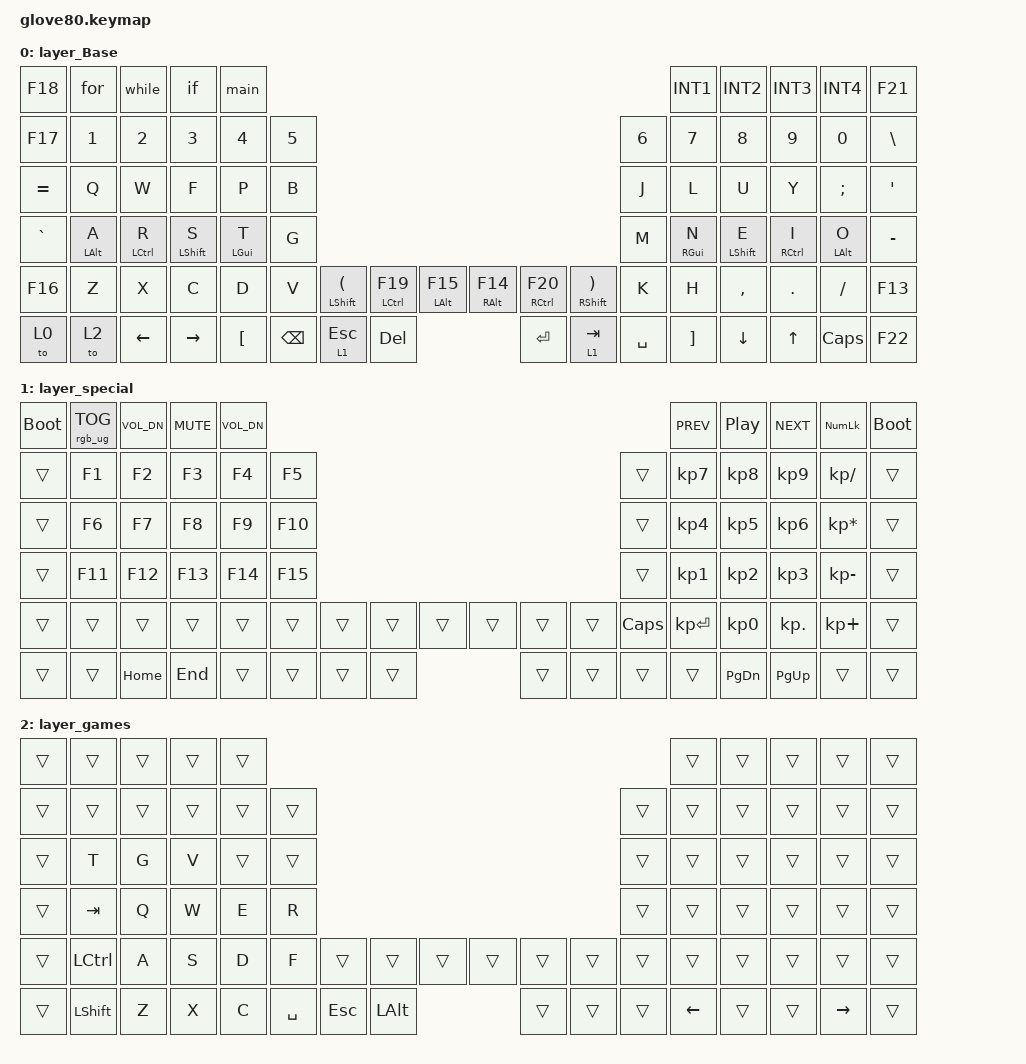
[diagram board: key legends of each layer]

/*
 * Copyright (c) 2020 The ZMK Contributors
 * Copyright (c) 2023 Innaworks Development Limited, trading as MoErgo
 *
 * SPDX-License-Identifier: MIT
 */


/* THIS FILE WAS GENERATED BY GLOVE80 LAYOUT EDITOR
 *
 * This file was generated automatically. You may or may not want to
 * edit it directly.
 */

#include <behaviors.dtsi>
/* Include all behavior includes needed */
#include <dt-bindings/zmk/outputs.h>
#include <dt-bindings/zmk/keys.h>
#include <dt-bindings/zmk/bt.h>
#include <dt-bindings/zmk/rgb.h>

/* Automatically generated layer name #define */
#define LAYER_Base 0
#define LAYER_special 1
#define LAYER_games 2

/* To deal with the situation where there is no Lower layer, to keep &lower happy */
#ifndef LAYER_Lower
#define LAYER_Lower 0
#endif

/* Custom Device-tree */



/* Glove80 system behavior & macros */
/ {
    behaviors {
        // For the "layer" key, it'd nice to be able to use it as either a shift or a toggle.
        // Configure it as a tap dance, so the first tap (or hold) is a &mo and the second tap is a &to
        lower: lower {
            compatible = "zmk,behavior-tap-dance";
            label = "LAYER_TAP_DANCE";
            #binding-cells = <0>;
            tapping-term-ms = <200>;
            bindings = <&mo LAYER_Lower>, <&to LAYER_Lower>;
        };
    };
};

/ {
#ifdef BT_DISC_CMD
    behaviors {
        bt_0: bt_0 {
            compatible = "zmk,behavior-tap-dance";
            label = "BT_0";
            #binding-cells = <0>;
            tapping-term-ms = <200>;
            bindings = <&bt_select_0>, <&bt BT_DISC 0>;
        };
        bt_1: bt_1 {
            compatible = "zmk,behavior-tap-dance";
            label = "BT_1";
            #binding-cells = <0>;
            tapping-term-ms = <200>;
            bindings = <&bt_select_1>, <&bt BT_DISC 1>;
        };
        bt_2: bt_2 {
            compatible = "zmk,behavior-tap-dance";
            label = "BT_2";
            #binding-cells = <0>;
            tapping-term-ms = <200>;
            bindings = <&bt_select_2>, <&bt BT_DISC 2>;
        };
        bt_3: bt_3 {
            compatible = "zmk,behavior-tap-dance";
            label = "BT_3";
            #binding-cells = <0>;
            tapping-term-ms = <200>;
            bindings = <&bt_select_3>, <&bt BT_DISC 3>;
        };
    };
    macros {
        bt_select_0: bt_select_0 {
            label = "BT_SELECT_0";
            compatible = "zmk,behavior-macro";
            #binding-cells = <0>;
            bindings = <&out OUT_BLE>, <&bt BT_SEL 0>;
        };
        bt_select_1: bt_select_1 {
            label = "BT_SELECT_1";
            compatible = "zmk,behavior-macro";
            #binding-cells = <0>;
            bindings = <&out OUT_BLE>, <&bt BT_SEL 1>;
        };
        bt_select_2: bt_select_2 {
            label = "BT_SELECT_2";
            compatible = "zmk,behavior-macro";
            #binding-cells = <0>;
            bindings = <&out OUT_BLE>, <&bt BT_SEL 2>;
        };
        bt_select_3: bt_select_3 {
            label = "BT_SELECT_3";
            compatible = "zmk,behavior-macro";
            #binding-cells = <0>;
            bindings = <&out OUT_BLE>, <&bt BT_SEL 3>;
        };
    };
#else
    macros {
        bt_0: bt_0 {
            label = "BT_0";
            compatible = "zmk,behavior-macro";
            #binding-cells = <0>;
            bindings = <&out OUT_BLE>, <&bt BT_SEL 0>;
        };
        bt_1: bt_1 {
            label = "BT_1";
            compatible = "zmk,behavior-macro";
            #binding-cells = <0>;
            bindings = <&out OUT_BLE>, <&bt BT_SEL 1>;
        };
        bt_2: bt_2 {
            label = "BT_2";
            compatible = "zmk,behavior-macro";
            #binding-cells = <0>;
            bindings = <&out OUT_BLE>, <&bt BT_SEL 2>;
        };
        bt_3: bt_3 {
            label = "BT_3";
            compatible = "zmk,behavior-macro";
            #binding-cells = <0>;
            bindings = <&out OUT_BLE>, <&bt BT_SEL 3>;
        };
    };
#endif
};

/ {
    behaviors {
        magic: magic {
            compatible = "zmk,behavior-hold-tap";
            label = "MAGIC_HOLD_TAP";
            #binding-cells = <2>;
            flavor = "tap-preferred";
            tapping-term-ms = <200>;
            bindings = <&mo>, <&rgb_ug_status_macro>;
        };
    };
};

/* #define for key positions */
#define POS_LH_T1 52
#define POS_LH_T2 53
#define POS_LH_T3 54
#define POS_LH_T4 69
#define POS_LH_T5 70
#define POS_LH_T6 71
#define POS_LH_C1R2 15
#define POS_LH_C1R3 27
#define POS_LH_C1R4 39
#define POS_LH_C1R5 51
#define POS_LH_C2R1 4
#define POS_LH_C2R2 14
#define POS_LH_C2R3 26
#define POS_LH_C2R4 38
#define POS_LH_C2R5 50
#define POS_LH_C2R6 68
#define POS_LH_C3R1 3
#define POS_LH_C3R2 13
#define POS_LH_C3R3 25
#define POS_LH_C3R4 37
#define POS_LH_C3R5 49
#define POS_LH_C3R6 67
#define POS_LH_C4R1 2
#define POS_LH_C4R2 12
#define POS_LH_C4R3 24
#define POS_LH_C4R4 36
#define POS_LH_C4R5 48
#define POS_LH_C4R6 66
#define POS_LH_C5R1 1
#define POS_LH_C5R2 11
#define POS_LH_C5R3 23
#define POS_LH_C5R4 35
#define POS_LH_C5R5 47
#define POS_LH_C5R6 65
#define POS_LH_C6R1 0
#define POS_LH_C6R2 10
#define POS_LH_C6R3 22
#define POS_LH_C6R4 34
#define POS_LH_C6R5 46
#define POS_LH_C6R6 64
#define POS_RH_T1 57
#define POS_RH_T2 56
#define POS_RH_T3 55
#define POS_RH_T4 74
#define POS_RH_T5 73
#define POS_RH_T6 72
#define POS_RH_C1R2 16
#define POS_RH_C1R3 28
#define POS_RH_C1R4 40
#define POS_RH_C1R5 58
#define POS_RH_C2R1 5
#define POS_RH_C2R2 17
#define POS_RH_C2R3 29
#define POS_RH_C2R4 41
#define POS_RH_C2R5 59
#define POS_RH_C2R6 75
#define POS_RH_C3R1 6
#define POS_RH_C3R2 18
#define POS_RH_C3R3 30
#define POS_RH_C3R4 42
#define POS_RH_C3R5 60
#define POS_RH_C3R6 76
#define POS_RH_C4R1 7
#define POS_RH_C4R2 19
#define POS_RH_C4R3 31
#define POS_RH_C4R4 43
#define POS_RH_C4R5 61
#define POS_RH_C4R6 77
#define POS_RH_C5R1 8
#define POS_RH_C5R2 20
#define POS_RH_C5R3 32
#define POS_RH_C5R4 44
#define POS_RH_C5R5 62
#define POS_RH_C5R6 78
#define POS_RH_C6R1 9
#define POS_RH_C6R2 21
#define POS_RH_C6R3 33
#define POS_RH_C6R4 45
#define POS_RH_C6R5 63
#define POS_RH_C6R6 79

/* Custom Defined Behaviors */
/ {

};

/* Automatically generated macro definitions */
/ {
    macros {
    
        for: for {
            label = "&FOR";
            compatible = "zmk,behavior-macro";
            #binding-cells = <0>;
            tap-ms = <15>;
            bindings = <&kp F>, <&kp O>, <&kp R>, <&kp LPAR>, <&kp SEMI>, <&kp SEMI>, <&kp RPAR>, <&kp SPACE>, <&kp LBRC>, <&kp RET>;
        };
    
        if: if {
            label = "&IF";
            compatible = "zmk,behavior-macro";
            #binding-cells = <0>;
            tap-ms = <15>;
            bindings = <&kp I>, <&kp F>, <&kp LPAR>, <&kp EQUAL>, <&kp EQUAL>, <&kp RPAR>, <&kp SPACE>, <&kp LBRC>, <&kp RET>;
        };
    
        while: while {
            label = "&WHILE";
            compatible = "zmk,behavior-macro";
            #binding-cells = <0>;
            tap-ms = <15>;
            bindings = <&kp W>, <&kp H>, <&kp I>, <&kp L>, <&kp E>, <&kp LPAR>, <&kp RPAR>, <&kp SPACE>, <&kp LBRC>, <&kp RET>;
        };
    
        main: main {
            label = "&MAIN";
            compatible = "zmk,behavior-macro";
            #binding-cells = <0>;
            bindings = <&kp I>, <&kp N>, <&kp T>, <&kp SPACE>, <&kp M>, <&kp A>, <&kp I>, <&kp N>, <&kp LPAR>, <&kp RPAR>, <&kp SPACE>, <&kp LBRC>;
        };
    };
};

/* Automatically generated behavior definitions */
/ {
    behaviors {

        homerow_mod: homerow_mod {
            compatible = "zmk,behavior-hold-tap";
            #binding-cells = <2>;
            tapping-term-ms = <200>;
            bindings = <&kp>, <&kp>;
            flavor = "tap-preferred";
            quick-tap-ms = <200>;
            require-prior-idle-ms = <125>;
        };

        homerow_mod_long: homerow_mod_long {
            compatible = "zmk,behavior-hold-tap";
            #binding-cells = <2>;
            tapping-term-ms = <250>;
            bindings = <&kp>, <&kp>;
            flavor = "tap-preferred";
            quick-tap-ms = <250>;
            require-prior-idle-ms = <150>;
        };

        homerow_mod_short: homerow_mod_short {
            compatible = "zmk,behavior-hold-tap";
            #binding-cells = <2>;
            tapping-term-ms = <175>;
            bindings = <&kp>, <&kp>;
            flavor = "tap-preferred";
            quick-tap-ms = <175>;
            require-prior-idle-ms = <125>;
        };

        perfer_mod: perfer_mod {
            compatible = "zmk,behavior-hold-tap";
            #binding-cells = <2>;
            tapping-term-ms = <250>;
            bindings = <&kp>, <&kp>;
            quick-tap-ms = <250>;
            require-prior-idle-ms = <150>;
        };
    };
};

/* Automatically generated combos definitions */


/* Automatically generated keymap */
/ {
    keymap {
        compatible = "zmk,keymap";


        layer_Base {
            bindings = <
   &kp F18                      &for                &while                        &if                &main                                                                                                                                                                         &kp INT1                    &kp INT2              &kp INT3                  &kp INT4    &kp F21
   &kp F17                    &kp N1                &kp N2                     &kp N3               &kp N4  &kp N5                                                                                                                                              &kp N6               &kp N7                      &kp N8                &kp N9                    &kp N0   &kp BSLH
 &kp EQUAL                     &kp Q                 &kp W                      &kp F                &kp P   &kp B                                                                                                                                               &kp J                &kp L                       &kp U                 &kp Y                  &kp SEMI    &kp SQT
 &kp GRAVE  &homerow_mod_long LALT A  &homerow_mod LCTRL R  &homerow_mod_long LSHFT S  &homerow_mod LGUI T   &kp G                                                                                                                                               &kp M  &homerow_mod RGUI N  &homerow_mod_short LSHFT E  &homerow_mod RCTRL I  &homerow_mod_long LALT O  &kp MINUS
   &kp F16                     &kp Z                 &kp X                      &kp C                &kp D   &kp V  &homerow_mod LSHFT LPAR  &perfer_mod LCTRL F19  &perfer_mod LALT F15  &perfer_mod RALT F14  &perfer_mod RCTRL F20  &homerow_mod RSHFT RPAR   &kp K                &kp H                   &kp COMMA               &kp DOT                  &kp FSLH    &kp F13
     &to 0                     &to 2              &kp LEFT                  &kp RIGHT             &kp LBKT                         &kp BSPC              &lt 1 ESC               &kp DEL               &kp RET              &lt 1 TAB                &kp SPACE                     &kp RBKT                    &kp DOWN                &kp UP                  &kp CAPS    &kp F22
            >;
        };

        layer_special {
            bindings = <
 &bootloader  &rgb_ug RGB_TOG  &kp C_VOL_DN  &kp C_MUTE  &kp C_VOL_DN                                                                       &kp C_PREV   &kp C_PP  &kp C_NEXT       &kp KP_NUM  &bootloader
      &trans           &kp F1        &kp F2      &kp F3        &kp F4   &kp F5                                                    &trans     &kp KP_N7  &kp KP_N8   &kp KP_N9     &kp KP_SLASH       &trans
      &trans           &kp F6        &kp F7      &kp F8        &kp F9  &kp F10                                                    &trans     &kp KP_N4  &kp KP_N5   &kp KP_N6  &kp KP_MULTIPLY       &trans
      &trans          &kp F11       &kp F12     &kp F13       &kp F14  &kp F15                                                    &trans     &kp KP_N1  &kp KP_N2   &kp KP_N3     &kp KP_MINUS       &trans
      &trans           &trans        &trans      &trans        &trans   &trans  &trans  &trans  &trans  &trans  &trans  &trans  &kp CAPS  &kp KP_ENTER  &kp KP_N0  &kp KP_DOT      &kp KP_PLUS       &trans
      &trans           &trans      &kp HOME     &kp END        &trans           &trans  &trans  &trans  &trans  &trans  &trans                  &trans  &kp PG_DN   &kp PG_UP           &trans       &trans
            >;
        };

        layer_games {
            bindings = <
 &trans     &trans  &trans  &trans  &trans                                                                          &trans  &trans  &trans     &trans  &trans
 &trans     &trans  &trans  &trans  &trans  &trans                                                        &trans    &trans  &trans  &trans     &trans  &trans
 &trans      &kp T   &kp G   &kp V  &trans  &trans                                                        &trans    &trans  &trans  &trans     &trans  &trans
 &trans    &kp TAB   &kp Q   &kp W   &kp E   &kp R                                                        &trans    &trans  &trans  &trans     &trans  &trans
 &trans  &kp LCTRL   &kp A   &kp S   &kp D   &kp F     &trans   &trans    &trans  &trans  &trans  &trans  &trans    &trans  &trans  &trans     &trans  &trans
 &trans  &kp LSHFT   &kp Z   &kp X   &kp C          &kp SPACE  &kp ESC  &kp LALT  &trans  &trans  &trans          &kp LEFT  &trans  &trans  &kp RIGHT  &trans
            >;
        };

    };
};
